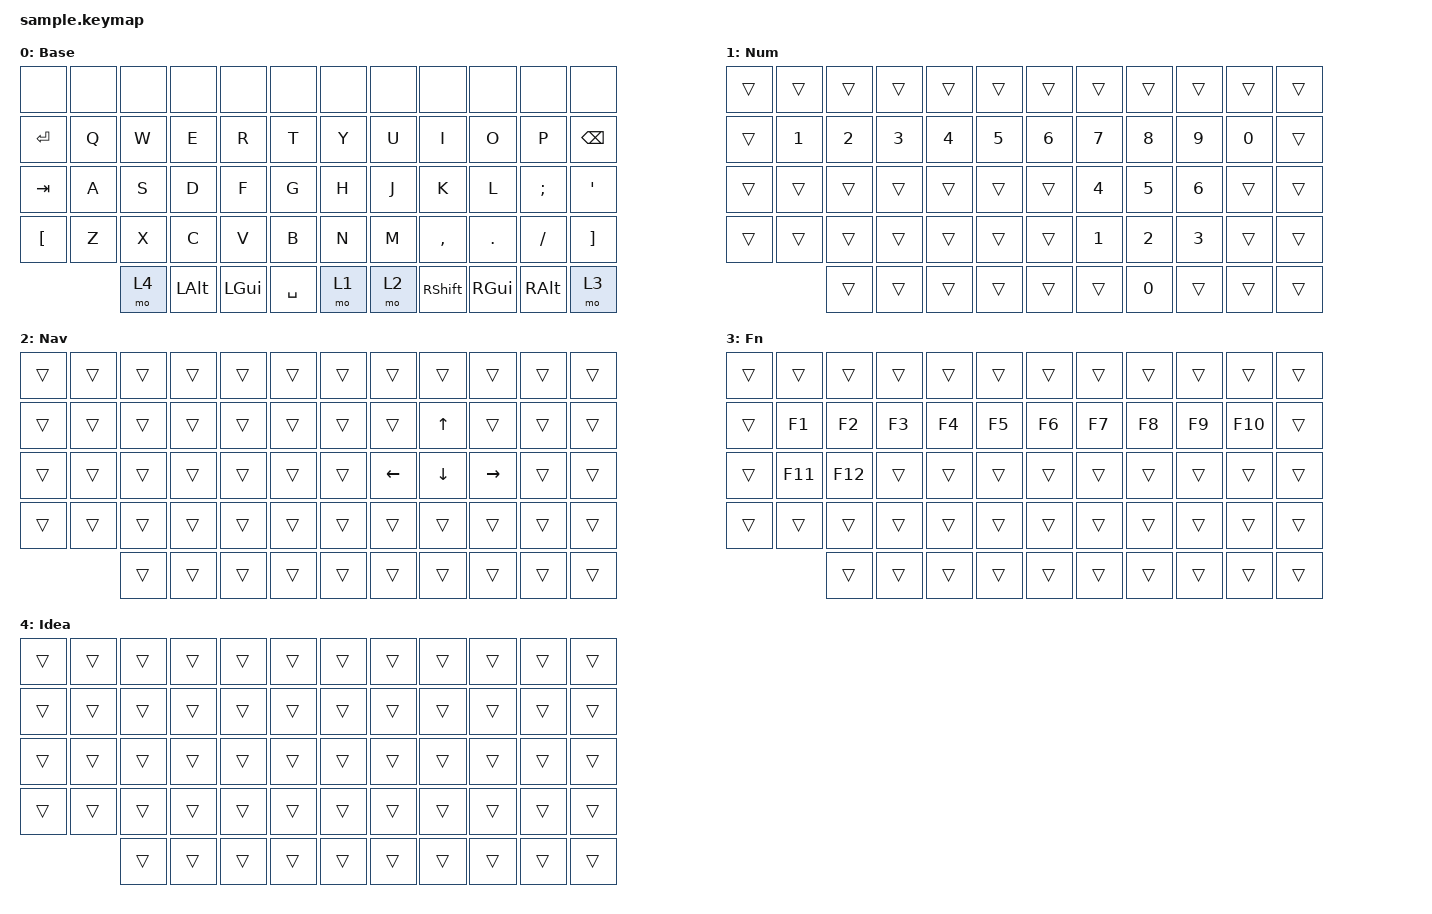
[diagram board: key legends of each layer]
/ {
    keymap {
        compatible = "zmk,keymap";

        Base {
            display-name = "Base";
            bindings = <
&none       &none     &none     &none      &none      &none          &none    &none     &none      &none      &none      &none
&kp ENTER   &kp Q     &kp W     &kp E      &kp R      &kp T          &kp Y    &kp U     &kp I      &kp O      &kp P      &kp BSPC
&kp TAB     &kp A     &kp S     &kp D      &kp F      &kp G          &kp H    &kp J     &kp K      &kp L      &kp SEMI   &kp SQT
&kp LBKT    &kp Z     &kp X     &kp C      &kp V      &kp B          &kp N    &kp M     &kp COMMA  &kp DOT    &kp FSLH   &kp RBKT
                      &mo 4     &kp LALT   &kp LGUI   &kp SPACE &mo 1     &mo 2  &kp RSHFT &kp RGUI   &kp RALT   &mo 3
            >;
        };

        Num {
            display-name = "Num";
            bindings = <
&trans      &trans    &trans    &trans     &trans     &trans         &trans   &trans    &trans     &trans     &trans     &trans
&trans      &kp N1    &kp N2    &kp N3     &kp N4     &kp N5         &kp N6   &kp N7    &kp N8     &kp N9     &kp N0     &trans
&trans      &trans    &trans    &trans     &trans     &trans         &trans   &kp N4    &kp N5     &kp N6     &trans     &trans
&trans      &trans    &trans    &trans     &trans     &trans         &trans   &kp N1    &kp N2     &kp N3     &trans     &trans
                      &trans    &trans     &trans     &trans    &trans    &trans &kp N0    &trans     &trans     &trans
            >;
        };

        Nav {
            display-name = "Nav";
            bindings = <
&trans      &trans    &trans    &trans     &trans     &trans         &trans   &trans    &trans     &trans     &trans     &trans
&trans      &trans    &trans    &trans     &trans     &trans         &trans   &trans    &kp UP     &trans     &trans     &trans
&trans      &trans    &trans    &trans     &trans     &trans         &trans   &kp LEFT  &kp DOWN   &kp RIGHT  &trans     &trans
&trans      &trans    &trans    &trans     &trans     &trans         &trans   &trans    &trans     &trans     &trans     &trans
                      &trans    &trans     &trans     &trans    &trans    &trans &trans    &trans     &trans     &trans
            >;
        };

        Fn {
            display-name = "Fn";
            bindings = <
&trans      &trans    &trans    &trans     &trans     &trans         &trans   &trans    &trans     &trans     &trans     &trans
&trans      &kp F1    &kp F2    &kp F3     &kp F4     &kp F5         &kp F6   &kp F7    &kp F8     &kp F9     &kp F10    &trans
&trans      &kp F11   &kp F12   &trans     &trans     &trans         &trans   &trans    &trans     &trans     &trans     &trans
&trans      &trans    &trans    &trans     &trans     &trans         &trans   &trans    &trans     &trans     &trans     &trans
                      &trans    &trans     &trans     &trans    &trans    &trans &trans    &trans     &trans     &trans
            >;
        };

        Idea {
            display-name = "Idea";
            bindings = <
&trans      &trans    &trans    &trans     &trans     &trans         &trans   &trans    &trans     &trans     &trans     &trans
&trans      &trans    &trans    &trans     &trans     &trans         &trans   &trans    &trans     &trans     &trans     &trans
&trans      &trans    &trans    &trans     &trans     &trans         &trans   &trans    &trans     &trans     &trans     &trans
&trans      &trans    &trans    &trans     &trans     &trans         &trans   &trans    &trans     &trans     &trans     &trans
                      &trans    &trans     &trans     &trans    &trans    &trans &trans    &trans     &trans     &trans
            >;
        };
    };

    combos {
        compatible = "zmk,combos";

        combo_excl {
            key-positions = <13 25>;
            bindings = <&kp EXCL>;
        };

        combo_at {
            key-positions = <14 26>;
            bindings = <&kp AT>;
        };

        combo_hash {
            key-positions = <15 27>;
            bindings = <&kp HASH>;
        };

        combo_dllr {
            key-positions = <16 28>;
            bindings = <&kp DLLR>;
        };

        combo_prcnt {
            key-positions = <17 29>;
            bindings = <&kp PRCNT>;
        };

        combo_caret {
            key-positions = <18 30>;
            bindings = <&kp CARET>;
        };

        combo_plus {
            key-positions = <19 31>;
            bindings = <&kp PLUS>;
        };

        combo_star {
            key-positions = <20 32>;
            bindings = <&kp STAR>;
        };

        combo_amps {
            key-positions = <21 33>;
            bindings = <&kp AMPS>;
        };

        combo_grave {
            key-positions = <25 37>;
            bindings = <&kp GRAVE>;
        };

        combo_bslh {
            key-positions = <26 38>;
            bindings = <&kp BSLH>;
        };

        combo_equal {
            key-positions = <27 39>;
            bindings = <&kp EQUAL>;
        };

        combo_tilde {
            key-positions = <28 40>;
            bindings = <&kp TILDE>;
        };

        combo_under {
            key-positions = <30 42>;
            bindings = <&kp UNDER>;
        };

        combo_minus {
            key-positions = <31 43>;
            bindings = <&kp MINUS>;
        };

        combo_fslh {
            key-positions = <32 44>;
            bindings = <&kp FSLH>;
        };

        combo_pipe {
            key-positions = <33 45>;
            bindings = <&kp PIPE>;
        };

        combo_enter_left {
            key-positions = <26 27 28>;
            bindings = <&kp ENTER>;
        };

        combo_enter_right {
            key-positions = <31 32 33>;
            bindings = <&kp ENTER>;
        };
    };
};
